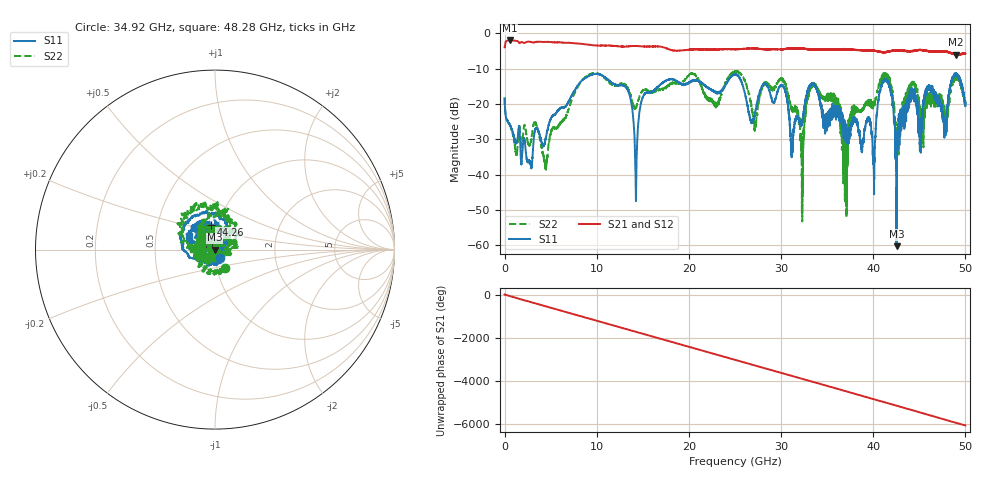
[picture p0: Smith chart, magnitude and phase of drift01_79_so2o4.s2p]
!Created with skrf (http://scikit-rf.org).
# Hz S RI R 50.0
!freq ReS11 ImS11 ReS21 ImS21 ReS12 ImS12 ReS22 ImS22
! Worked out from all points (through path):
!   10001 points, 300 kHz to 50 GHz, reference 50 ohm
!   highest |S21| = -2.00 dB at 570.3 MHz (marker M1); lowest = -6.0 dB at 48.98 GHz (marker M2)
!   group delay of S21, straight-line fit = 336 ps
!   lowest |S11| = -60.2 dB at 42.53 GHz (marker M3), VSWR 1.00, Z = 50 - j0.0862 ohm
!   |S11| at or under -10 dB: start of sweep to end of sweep
!   |S22| runs from -53.2 to -10.6 dB; largest |S21 - S12| = 0.02
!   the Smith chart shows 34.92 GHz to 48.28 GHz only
!   S11 on the Smith chart (normalised r, x): 34.92 GHz: 1.05, -0.10; 44.26 GHz: 0.92, +0.26; 48.28 GHz: 0.74, +0.11
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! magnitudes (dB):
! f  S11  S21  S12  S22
! 300 kHz  -18.4  -3.9  -4.0  -18.1
! 570.3 MHz  -25.9  -2.0  -2.0  -26.0
! 4.445 GHz  -29.9  -2.4  -2.4  -37.9
! 8.335 GHz  -13.5  -2.9  -3.0  -13.5
! 13.18 GHz  -15.3  -3.7  -3.7  -14.7
! 14.25 GHz  -47.5  -3.6  -3.5  -21.1
! 16.67 GHz  -15.0  -3.7  -3.7  -15.9
! 25 GHz  -11.5  -4.5  -4.5  -10.9
! 27.18 GHz  -22.3  -4.3  -4.3  -25.9
! 30.25 GHz  -14.9  -4.5  -4.5  -13.4
! 31.16 GHz  -33.1  -4.3  -4.3  -21.0
! 32.28 GHz  -25.1  -4.3  -4.3  -47.5
! 33.34 GHz  -14.2  -4.6  -4.6  -14.8
! 34.92 GHz  -25.4  -4.5  -4.5  -18.6
! 36.99 GHz  -29.9  -4.6  -4.5  -26.3
! 40.04 GHz  -36.4  -4.9  -4.8  -19.9
! 41.67 GHz  -13.9  -5.0  -5.1  -13.2
! 42.53 GHz  -60.2  -4.8  -4.9  -34.3
! 44.26 GHz  -17.1  -5.0  -5.0  -13.7
! 48.28 GHz  -15.8  -5.5  -5.5  -18.3
! 48.98 GHz  -11.6  -6.0  -6.0  -12.4
! 50 GHz  -19.5  -5.7  -5.8  -19.4
